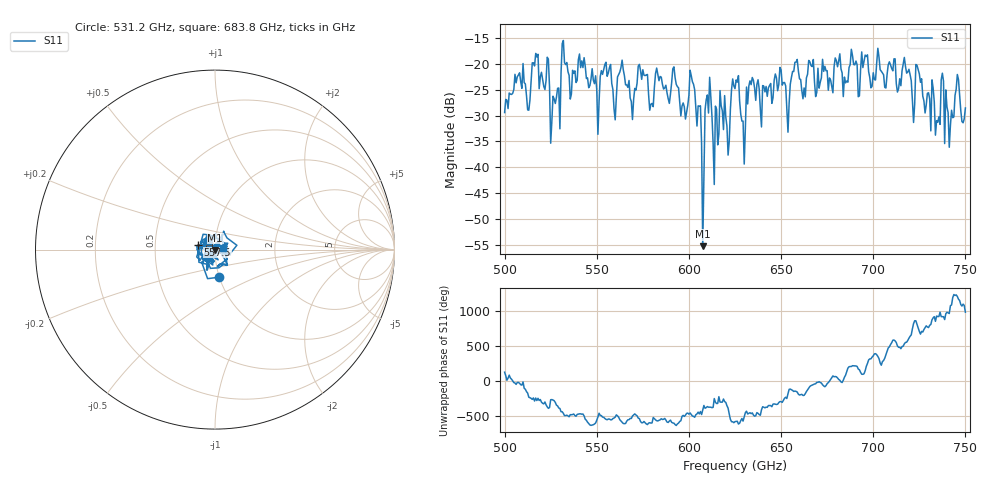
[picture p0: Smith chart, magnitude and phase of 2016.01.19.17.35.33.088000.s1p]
!Created with skrf (http://scikit-rf.org).
# GHz S RI R 50.0
!freq ReS11 ImS11
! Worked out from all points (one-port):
!   401 points, 500 GHz to 750 GHz, reference 50 ohm
!   lowest |S11| = -55.2 dB at 607.5 GHz (marker M1), VSWR 1.00, Z = 50.1 - j0.149 ohm
!   |S11| at or under -10 dB: start of sweep to end of sweep
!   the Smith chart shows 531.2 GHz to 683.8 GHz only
!   S11 on the Smith chart (normalised r, x): 531.2 GHz: 1.00, -0.31; 557.5 GHz: 0.83, +0.05; 683.8 GHz: 1.10, +0.02
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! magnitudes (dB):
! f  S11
! 500 GHz  -29.4
! 506.9 GHz  -22.5
! 513.1 GHz  -29.0
! 516.9 GHz  -18.0
! 526.2 GHz  -26.3
! 531.2 GHz  -16.2
! 557.5 GHz  -20.2
! 562.5 GHz  -21.6
! 569.4 GHz  -30.8
! 573.8 GHz  -21.3
! 579.4 GHz  -27.8
! 593.8 GHz  -24.4
! 601.9 GHz  -23.5
! 607.5 GHz  -55.2
! 610 GHz  -26.0
! 614.4 GHz  -28.2
! 621.2 GHz  -37.6
! 625 GHz  -24.8
! 629.4 GHz  -31.1
! 633.8 GHz  -24.1
! 653.8 GHz  -33.2
! 656.2 GHz  -21.5
! 683.8 GHz  -26.4
! 687.5 GHz  -20.2
! 718.8 GHz  -21.6
! 735 GHz  -31.3
! 745.6 GHz  -22.1
! 750 GHz  -28.6
